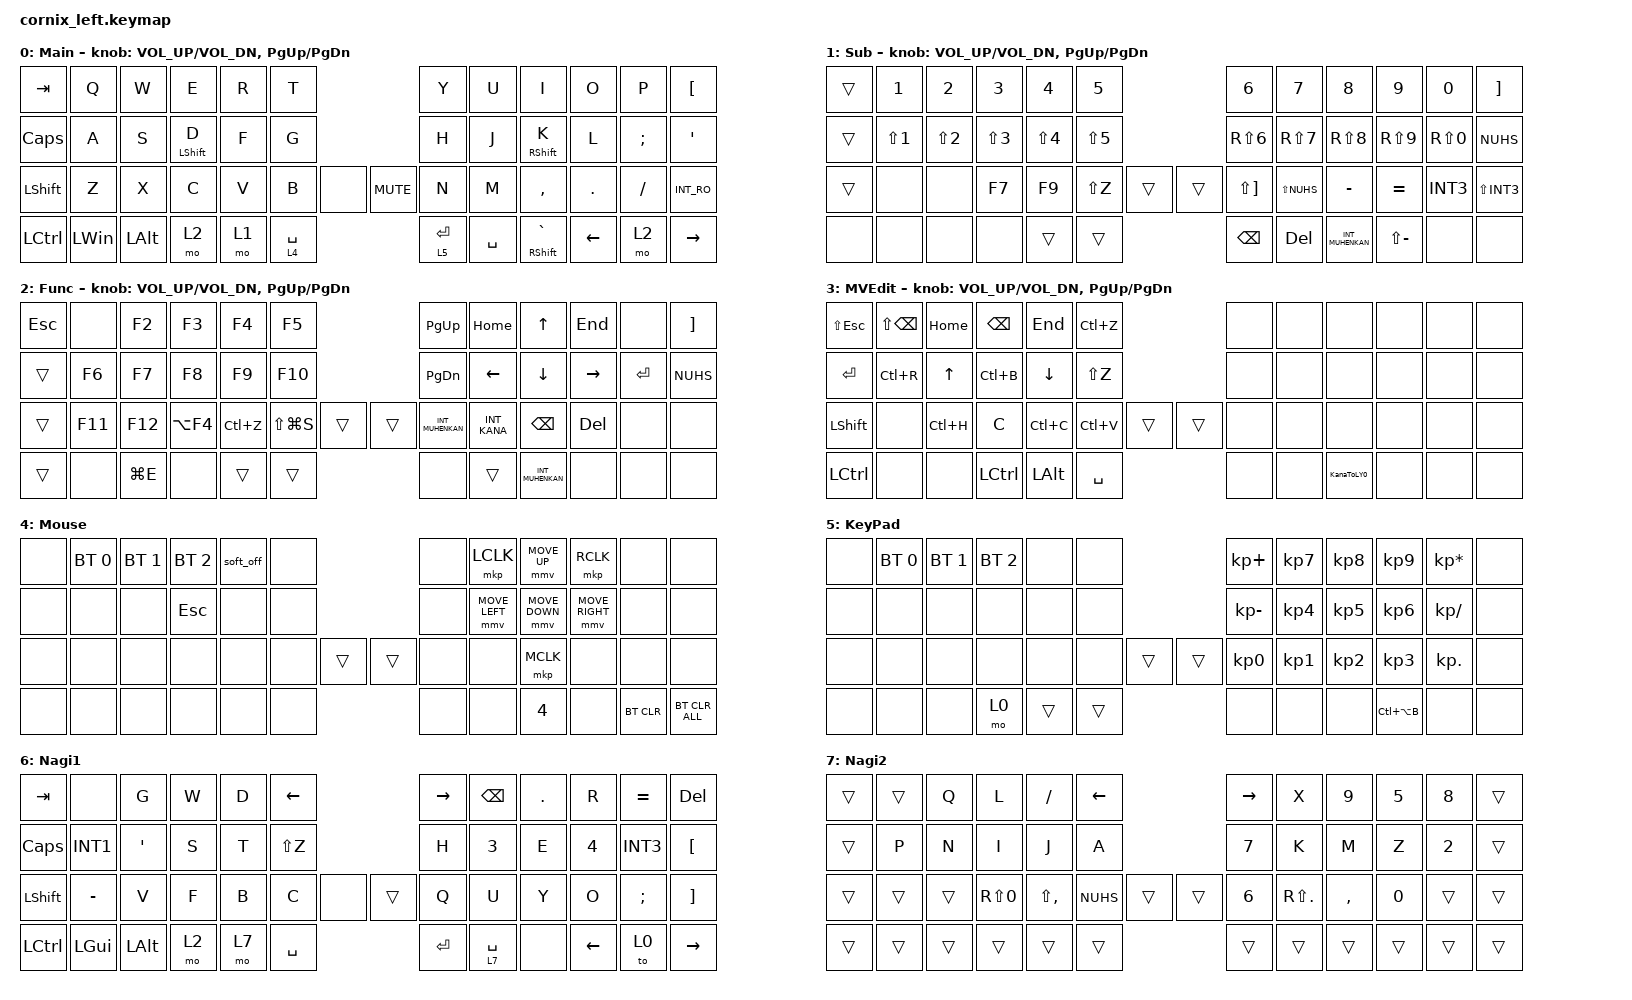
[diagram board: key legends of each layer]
/*
 * Copyright (c) 2025 The ZMK Contributors
 *
 * SPDX-License-Identifier: MIT
 */

#include <dt-bindings/zmk/mouse.h>
#include <behaviors.dtsi>
#include <dt-bindings/zmk/bt.h>
#include <dt-bindings/zmk/keys.h>
#include <dt-bindings/zmk/pointing.h>
#include "cornix-layouts.dtsi"

#define DEFAULT 0
#define FUNCTION 1
#define NUM 2
#define SCROLL 3
#define MOUSE 4

// OS設定を日本語キーボードのまま使用するための変換定義

#define JP_DQUOTE       AT                // "
#define JP_AMPERSAND    CARET             // &
#define JP_QUOTE        AMPERSAND         // '
#define JP_EQUAL        UNDER             // =
#define JP_CARET        EQUAL             // ^
#define JP_YEN          0x89              // ¥
#define JP_PLUS         COLON             // +
#define JP_TILDE        PLUS              // ~
#define JP_PIPE         LS(0x89)          // |
#define JP_AT           LEFT_BRACKET      // @
#define JP_COLON        SINGLE_QUOTE      // :
#define JP_ASTERISK     DOUBLE_QUOTES     // *
#define JP_BACKQUOTE    LEFT_BRACE        // `
#define JP_UNDERSCORE   LS(0x87)          // _
#define JP_LBRACKET     RIGHT_BRACKET     // [
#define JP_RBRACKET     BACKSLASH         // ]
#define JP_LPAREN       ASTERISK          // (
#define JP_RPAREN       LEFT_PARENTHESIS  // )
#define JP_LBRACE       RIGHT_BRACE       // {
#define JP_RBRACE       PIPE              // }
#define JP_KANA         LANGUAGE_1        // かな
#define JP_EISU         LANGUAGE_2        // 英数
#define JP_HANZEN       GRAVE             // 半角/全角

&lt {
    flavor = "balanced";
    quick-tap-ms = <0>;
};

&mt {
    flavor = "balanced";
    quick-tap-ms = <0>;
};

/ {
    combos {
        compatible = "zmk,combos";

        BT_reset {
            bindings = <&bt BT_CLR_ALL>;
            key-positions = <1 5>;
            layers = <3>;
        };

        bootloader {
            bindings = <&bootloader>;
            key-positions = <41 42 43>;
            layers = <3>;
        };

        // eve Added

        Kana_Roma_Toggle {
            bindings = <&kp LA(INT2)>;
            key-positions = <9 10 11>;
        };

        cb_enter {
            bindings = <&kp RET>;
            key-positions = <28 29>;
            layers = <0 1>;
        };

        Main {
            bindings = <&to 0>;
            key-positions = <4 2 3>;
            timeout-ms = <200>;
        };

        MVEdit {
            bindings = <&to 3>;
            key-positions = <16 14 15>;
            timeout-ms = <200>;
        };

        combo_ng_on {
            timeout-ms = <300>;
            key-positions = <6 8 7>;
            bindings = <&ng_on>;
            layers = <0>;
        };

        combo_ng_off {
            timeout-ms = <300>;
            key-positions = <3 5>;
            bindings = <&ng_off>;
            layers = <6>;
        };

        n_ga {
            bindings = <&n_ga>;
            key-positions = <16 19>;
            layers = <6>;
            timeout-ms = <180>;
        };

        n_gi {
            bindings = <&n_gi>;
            key-positions = <19 2>;
            timeout-ms = <180>;
            layers = <6>;
        };

        n_gu {
            bindings = <&n_gu>;
            key-positions = <16 19 3>;
            timeout-ms = <180>;
            layers = <6>;
        };

        n_ge {
            bindings = <&n_ge>;
            key-positions = <14 19>;
            timeout-ms = <180>;
            layers = <6>;
        };

        n_go {
            bindings = <&n_go>;
            key-positions = <28 19>;
            timeout-ms = <180>;
            layers = <6>;
        };

        n_za {
            bindings = <&n_za>;
            key-positions = <16 7>;
            timeout-ms = <180>;
            layers = <6>;
        };

        n_ji {
            bindings = <&n_ji>;
            key-positions = <4 19>;
            timeout-ms = <180>;
            layers = <6>;
        };

        n_zu {
            bindings = <&n_zu>;
            key-positions = <16 9>;
            timeout-ms = <180>;
            layers = <6>;
        };

        n_ze {
            bindings = <&n_ze>;
            key-positions = <13 19>;
            timeout-ms = <180>;
            layers = <6>;
        };

        n_zo {
            bindings = <&n_zo>;
            key-positions = <29 19>;
            timeout-ms = <180>;
            layers = <6>;
        };

        n_da {
            bindings = <&n_da>;
            key-positions = <32 16>;
            layers = <6>;
            timeout-ms = <180>;
        };

        n_di {
            bindings = <&n_di>;
            key-positions = <19 17>;
            timeout-ms = <180>;
            layers = <6>;
        };

        n_du {
            bindings = <&n_du>;
            key-positions = <16 21>;
            timeout-ms = <180>;
            layers = <6>;
        };

        n_de {
            bindings = <&n_de>;
            key-positions = <3 19>;
            timeout-ms = <180>;
            layers = <6>;
        };

        n_do {
            bindings = <&n_do>;
            key-positions = <19 15>;
            timeout-ms = <180>;
            layers = <6>;
        };

        n_xa {
            bindings = <&kp LS(NUMBER_3)>;
            key-positions = <1 19>;
            timeout-ms = <180>;
            layers = <6>;
        };

        n_xi {
            bindings = <&kp LS(E)>;
            key-positions = <1 20>;
            timeout-ms = <180>;
            layers = <6>;
        };

        n_xu {
            bindings = <&kp LS(N4)>;
            key-positions = <1 21>;
            timeout-ms = <180>;
            layers = <6>;
        };

        n_xe {
            bindings = <&kp LS(NUMBER_5)>;
            key-positions = <1 9>;
            timeout-ms = <180>;
            layers = <6>;
        };

        x_xo {
            bindings = <&kp LS(N6)>;
            key-positions = <1 32>;
            timeout-ms = <180>;
            layers = <6>;
        };

        n_xya {
            bindings = <&kp LS(NUMBER_7)>;
            key-positions = <1 18>;
            timeout-ms = <180>;
            layers = <6>;
        };

        n_xyu {
            bindings = <&kp LS(N8)>;
            key-positions = <1 10>;
            timeout-ms = <180>;
            layers = <6>;
        };

        n_xyo {
            bindings = <&kp LS(N9)>;
            key-positions = <1 8>;
            timeout-ms = <180>;
            layers = <6>;
        };

        n_kya {
            bindings = <&n_kya>;
            key-positions = <18 2>;
            timeout-ms = <180>;
            layers = <6>;
        };

        n_kyu {
            bindings = <&n_kyu>;
            key-positions = <2 10>;
            timeout-ms = <180>;
            layers = <6>;
        };

        n_kyo {
            bindings = <&n_kyo>;
            key-positions = <2 8>;
            timeout-ms = <180>;
            layers = <6>;
        };

        n_sya {
            bindings = <&n_sya>;
            key-positions = <4 18>;
            timeout-ms = <180>;
            layers = <6>;
        };

        n_syu {
            bindings = <&n_syu>;
            key-positions = <10 4>;
            timeout-ms = <180>;
            layers = <6>;
        };

        n_syo {
            bindings = <&n_syo>;
            key-positions = <8 4>;
            timeout-ms = <180>;
            layers = <6>;
        };

        n_cya {
            bindings = <&n_cya>;
            key-positions = <18 17>;
            timeout-ms = <180>;
            layers = <6>;
        };

        n_cyu {
            bindings = <&n_cyu>;
            key-positions = <17 10>;
            timeout-ms = <180>;
            layers = <6>;
        };

        n_cyo {
            bindings = <&n_cyo>;
            key-positions = <8 17>;
            timeout-ms = <180>;
            layers = <6>;
        };

        n_nya {
            bindings = <&n_nya>;
            key-positions = <18 15>;
            timeout-ms = <180>;
            layers = <6>;
        };

        n_nyu {
            bindings = <&n_nyu>;
            key-positions = <10 15>;
            timeout-ms = <180>;
            layers = <6>;
        };

        n_nyo {
            bindings = <&n_nyo>;
            key-positions = <8 15>;
            timeout-ms = <180>;
            layers = <6>;
        };

        n_hya {
            bindings = <&n_hya>;
            key-positions = <18 26>;
            timeout-ms = <180>;
            layers = <6>;
        };

        n_hyu {
            bindings = <&n_hyu>;
            key-positions = <10 26>;
            timeout-ms = <180>;
            layers = <6>;
        };

        n_hyo {
            bindings = <&n_hyo>;
            key-positions = <8 26>;
            timeout-ms = <180>;
            layers = <6>;
        };

        n_mya {
            bindings = <&n_mya>;
            key-positions = <18 14>;
            timeout-ms = <180>;
            layers = <6>;
        };

        n_myu {
            bindings = <&n_myu>;
            key-positions = <10 14>;
            timeout-ms = <180>;
            layers = <6>;
        };

        n_myo {
            bindings = <&n_myo>;
            key-positions = <8 14>;
            timeout-ms = <180>;
            layers = <6>;
        };

        n_rya {
            bindings = <&n_rya>;
            key-positions = <18 3>;
            timeout-ms = <180>;
            layers = <6>;
        };

        n_ryu {
            bindings = <&n_ryu>;
            key-positions = <3 22>;
            timeout-ms = <180>;
            layers = <6>;
        };

        n_ryo {
            bindings = <&n_ryo>;
            key-positions = <8 3>;
            timeout-ms = <180>;
            layers = <6>;
        };

        n_gya {
            bindings = <&n_gya>;
            key-positions = <18 2 19>;
            timeout-ms = <180>;
            layers = <6>;
        };

        n_gyu {
            bindings = <&n_gyu>;
            key-positions = <2 19 10>;
            timeout-ms = <180>;
            layers = <6>;
        };

        n_gyo {
            bindings = <&n_gyo>;
            key-positions = <2 19 8>;
            timeout-ms = <180>;
            layers = <6>;
        };

        n_jya {
            bindings = <&n_jya>;
            key-positions = <18 19 4>;
            timeout-ms = <180>;
            layers = <6>;
        };

        n_jyu {
            bindings = <&n_jyu>;
            key-positions = <19 10 4>;
            timeout-ms = <180>;
            layers = <6>;
        };

        n_jyo {
            bindings = <&n_jyo>;
            key-positions = <19 8 4>;
            timeout-ms = <180>;
            layers = <6>;
        };

        n_dya {
            bindings = <&n_dya>;
            key-positions = <18 19 17>;
            timeout-ms = <180>;
            layers = <6>;
        };

        n_dyu {
            bindings = <&n_dyu>;
            key-positions = <19 10 17>;
            timeout-ms = <180>;
            layers = <6>;
        };

        n_dyo {
            bindings = <&n_dyo>;
            key-positions = <19 8 17>;
            timeout-ms = <180>;
            layers = <6>;
        };

        n_bya {
            bindings = <&n_bya>;
            key-positions = <18 19 26>;
            timeout-ms = <180>;
            layers = <6>;
        };

        n_byu {
            bindings = <&n_byu>;
            key-positions = <19 10 26>;
            timeout-ms = <180>;
            layers = <6>;
        };

        n_byo {
            bindings = <&n_byo>;
            key-positions = <19 8 26>;
            timeout-ms = <180>;
            layers = <6>;
        };

        n_pya {
            bindings = <&n_pya>;
            key-positions = <26 18 33>;
            timeout-ms = <180>;
            layers = <6>;
        };

        n_pyu {
            bindings = <&n_pyu>;
            key-positions = <10 26 33>;
            timeout-ms = <180>;
            layers = <6>;
        };

        n_pyo {
            bindings = <&n_pyo>;
            key-positions = <26 33 8>;
            timeout-ms = <180>;
            layers = <6>;
        };

        n_thi {
            bindings = <&n_thi>;
            key-positions = <3 20>;
            timeout-ms = <180>;
            layers = <6>;
        };

        n_twu {
            bindings = <&n_twu>;
            key-positions = <21 15>;
            timeout-ms = <180>;
            layers = <6>;
        };

        n_dei {
            bindings = <&n_dei>;
            key-positions = <3 19 20>;
            timeout-ms = <180>;
            layers = <6>;
        };

        n_dwu {
            bindings = <&n_dwu>;
            key-positions = <21 19 15>;
            timeout-ms = <180>;
            layers = <6>;
        };

        n_thu {
            bindings = <&n_thu>;
            key-positions = <3 10>;
            timeout-ms = <180>;
            layers = <6>;
        };

        n_dhu {
            bindings = <&n_dhu>;
            key-positions = <3 19 10>;
            timeout-ms = <180>;
            layers = <6>;
        };

        n_shie {
            bindings = <&n_shie>;
            key-positions = <4 9>;
            timeout-ms = <180>;
            layers = <6>;
        };

        n_chie {
            bindings = <&n_chie>;
            key-positions = <9 17>;
            timeout-ms = <180>;
            layers = <6>;
        };

        n_jie {
            bindings = <&n_jie>;
            key-positions = <9 19 4>;
            timeout-ms = <180>;
            layers = <6>;
        };

        n_je {
            bindings = <&n_je>;
            key-positions = <17 9 19>;
            timeout-ms = <180>;
            layers = <6>;
        };
    };

    macros {
        KanaToLY0: KanaToLY0 {
            compatible = "zmk,behavior-macro";
            #binding-cells = <0>;
            bindings = <&kp INT2>, <&macro_wait_time 20>, <&to 0>;

            label = "KANATOLY0";
        };

        Naginata: Naginata {
            compatible = "zmk,behavior-macro";
            #binding-cells = <0>;
            bindings = <&kp INT_KANA>, <&macro_wait_time 20>, <&to 6>;

            label = "NAGINATA";
        };

        // 2025/10/19 Naginata Added

        ng_on: ng_on {
            compatible = "zmk,behavior-macro";
            #binding-cells = <0>;
            bindings = <&macro_tap>, <&kp LANGUAGE_1 &kp INTERNATIONAL_4 &to 6>;
        };

        ng_off: ng_off {
            compatible = "zmk,behavior-macro";
            #binding-cells = <0>;
            bindings = <&macro_tap>, <&kp LANGUAGE_2 &kp INTERNATIONAL_5 &to 0>;
        };

        n_ga: n_ga {
            compatible = "zmk,behavior-macro";
            #binding-cells = <0>;
            bindings = <&kp T &kp LEFT_BRACKET>;
            label = "N_GA";
        };

        n_gi: n_gi {
            compatible = "zmk,behavior-macro";
            #binding-cells = <0>;
            bindings = <&kp G &kp LEFT_BRACKET>;
            label = "N_GI";
        };

        n_gu: n_gu {
            compatible = "zmk,behavior-macro";
            #binding-cells = <0>;
            bindings = <&kp H &kp LEFT_BRACKET>;
            label = "N_GU";
        };

        n_ge: n_ge {
            compatible = "zmk,behavior-macro";
            #binding-cells = <0>;
            bindings = <&kp SEMI &kp LEFT_BRACKET>;
            label = "N_GE";
        };

        n_go: n_go {
            compatible = "zmk,behavior-macro";
            #binding-cells = <0>;
            bindings = <&kp B &kp LEFT_BRACKET>;
            label = "N_GO";
        };

        n_za: n_za {
            compatible = "zmk,behavior-macro";
            #binding-cells = <0>;
            bindings = <&kp X &kp LEFT_BRACKET>;
            label = "N_ZA";
        };

        n_ji: n_ji {
            compatible = "zmk,behavior-macro";
            #binding-cells = <0>;
            bindings = <&kp D &kp LEFT_BRACKET>;
            label = "N_JI";
        };

        n_zu: n_zu {
            compatible = "zmk,behavior-macro";
            #binding-cells = <0>;
            bindings = <&kp R &kp LEFT_BRACKET>;
            label = "N_ZU";
        };

        n_ze: n_ze {
            compatible = "zmk,behavior-macro";
            #binding-cells = <0>;
            bindings = <&kp P &kp LEFT_BRACKET>;
            label = "N_ZE";
        };

        n_zo: n_zo {
            compatible = "zmk,behavior-macro";
            #binding-cells = <0>;
            bindings = <&kp C &kp LEFT_BRACKET>;
            label = "N_ZO";
        };

        n_da: n_da {
            compatible = "zmk,behavior-macro";
            #binding-cells = <0>;
            bindings = <&kp Q &kp LEFT_BRACKET>;
            label = "N_DA";
        };

        n_di: n_di {
            compatible = "zmk,behavior-macro";
            #binding-cells = <0>;
            bindings = <&kp A &kp LEFT_BRACKET>;
            label = "N_DI";
        };

        n_du: n_du {
            compatible = "zmk,behavior-macro";
            #binding-cells = <0>;
            bindings = <&kp Z &kp LEFT_BRACKET>;
            label = "N_DU";
        };

        n_de: n_de {
            compatible = "zmk,behavior-macro";
            #binding-cells = <0>;
            bindings = <&kp W &kp LEFT_BRACKET>;
            label = "N_DE";
        };

        n_do: n_do {
            compatible = "zmk,behavior-macro";
            #binding-cells = <0>;
            bindings = <&kp S &kp LEFT_BRACKET>;
            label = "N_DO";
        };

        n_kya: n_kya {
            compatible = "zmk,behavior-macro";
            #binding-cells = <0>;
            bindings = <&kp G &kp LS(N7)>;
            label = "N_KYA";
        };

        n_kyu: n_kyu {
            compatible = "zmk,behavior-macro";
            #binding-cells = <0>;
            bindings = <&kp G &kp LS(N8)>;
            label = "N_KYU";
        };

        n_kyo: n_kyo {
            compatible = "zmk,behavior-macro";
            #binding-cells = <0>;
            bindings = <&kp G &kp LS(N9)>;
            label = "N_KYO";
        };

        n_sya: n_sya {
            compatible = "zmk,behavior-macro";
            #binding-cells = <0>;
            bindings = <&kp D &kp LS(N7)>;
            label = "N_SYA";
        };

        n_syu: n_syu {
            compatible = "zmk,behavior-macro";
            #binding-cells = <0>;
            bindings = <&kp D &kp LS(N8)>;
            label = "N_SYU";
        };

        n_syo: n_syo {
            compatible = "zmk,behavior-macro";
            #binding-cells = <0>;
            bindings = <&kp D &kp LS(N9)>;
            label = "N_SYO";
        };

        n_cya: n_cya {
            compatible = "zmk,behavior-macro";
            #binding-cells = <0>;
            bindings = <&kp A &kp LS(N7)>;
            label = "N_CYA";
        };

        n_cyu: n_cyu {
            compatible = "zmk,behavior-macro";
            #binding-cells = <0>;
            bindings = <&kp A &kp LS(N8)>;
            label = "N_CYU";
        };

        n_cyo: n_cyo {
            compatible = "zmk,behavior-macro";
            #binding-cells = <0>;
            bindings = <&kp A &kp LS(N9)>;
            label = "N_CYO";
        };

        n_nya: n_nya {
            compatible = "zmk,behavior-macro";
            #binding-cells = <0>;
            bindings = <&kp I &kp LS(N7)>;
            label = "N_NYA";
        };

        n_nyu: n_nyu {
            compatible = "zmk,behavior-macro";
            #binding-cells = <0>;
            bindings = <&kp I &kp LS(N8)>;
            label = "N_NYU";
        };

        n_nyo: n_nyo {
            compatible = "zmk,behavior-macro";
            #binding-cells = <0>;
            bindings = <&kp I &kp LS(N9)>;
            label = "N_NYO";
        };

        n_hya: n_hya {
            compatible = "zmk,behavior-macro";
            #binding-cells = <0>;
            bindings = <&kp V &kp LS(N7)>;
            label = "N_HYA";
        };

        n_hyu: n_hyu {
            compatible = "zmk,behavior-macro";
            #binding-cells = <0>;
            bindings = <&kp V &kp LS(N8)>;
            label = "N_HYU";
        };

        n_hyo: n_hyo {
            compatible = "zmk,behavior-macro";
            #binding-cells = <0>;
            bindings = <&kp V &kp LS(N9)>;
            label = "N_HYO";
        };

        n_mya: n_mya {
            compatible = "zmk,behavior-macro";
            #binding-cells = <0>;
            bindings = <&kp N &kp LS(N7)>;
            label = "N_MYA";
        };

        n_myu: n_myu {
            compatible = "zmk,behavior-macro";
            #binding-cells = <0>;
            bindings = <&kp N &kp LS(N8)>;
            label = "N_MYU";
        };

        n_myo: n_myo {
            compatible = "zmk,behavior-macro";
            #binding-cells = <0>;
            bindings = <&kp N &kp LS(N9)>;
            label = "N_MYO";
        };

        n_rya: n_rya {
            compatible = "zmk,behavior-macro";
            #binding-cells = <0>;
            bindings = <&kp L &kp LS(N7)>;
            label = "N_RYA";
        };

        n_ryu: n_ryu {
            compatible = "zmk,behavior-macro";
            #binding-cells = <0>;
            bindings = <&kp L &kp LS(N8)>;
            label = "N_RYU";
        };

        n_ryo: n_ryo {
            compatible = "zmk,behavior-macro";
            #binding-cells = <0>;
            bindings = <&kp L &kp LS(N9)>;
            label = "N_RYO";
        };

        n_gya: n_gya {
            compatible = "zmk,behavior-macro";
            #binding-cells = <0>;
            bindings = <&kp G &kp LEFT_BRACKET &kp LS(N7)>;
            label = "N_GYA";
        };

        n_gyu: n_gyu {
            compatible = "zmk,behavior-macro";
            #binding-cells = <0>;
            bindings = <&kp G &kp LEFT_BRACKET &kp LS(N8)>;
            label = "N_GYU";
        };

        n_gyo: n_gyo {
            compatible = "zmk,behavior-macro";
            #binding-cells = <0>;
            bindings = <&kp G &kp LEFT_BRACKET &kp LS(N9)>;
            label = "N_GYO";
        };

        n_jya: n_jya {
            compatible = "zmk,behavior-macro";
            #binding-cells = <0>;
            bindings = <&kp D &kp LEFT_BRACKET &kp LS(N7)>;
            label = "N_JYA";
        };

        n_jyu: n_jyu {
            compatible = "zmk,behavior-macro";
            #binding-cells = <0>;
            bindings = <&kp D &kp LEFT_BRACKET &kp LS(N8)>;
            label = "N_JYU";
        };

        n_jyo: n_jyo {
            compatible = "zmk,behavior-macro";
            #binding-cells = <0>;
            bindings = <&kp D &kp LEFT_BRACKET &kp LS(N9)>;
            label = "N_JYO";
        };

        n_dya: n_dya {
            compatible = "zmk,behavior-macro";
            #binding-cells = <0>;
            bindings = <&kp A &kp LEFT_BRACKET &kp LS(N7)>;
            label = "N_DYA";
        };

        n_dyu: n_dyu {
            compatible = "zmk,behavior-macro";
            #binding-cells = <0>;
            bindings = <&kp A &kp LEFT_BRACKET &kp LS(N8)>;
            label = "N_DYU";
        };

        n_dyo: n_dyo {
            compatible = "zmk,behavior-macro";
            #binding-cells = <0>;
            bindings = <&kp A &kp LEFT_BRACKET &kp LS(N9)>;
            label = "N_DYO";
        };

        n_bya: n_bya {
            compatible = "zmk,behavior-macro";
            #binding-cells = <0>;
            bindings = <&kp V &kp LEFT_BRACKET &kp LS(N7)>;
            label = "N_BYA";
        };

        n_byu: n_byu {
            compatible = "zmk,behavior-macro";
            #binding-cells = <0>;
            bindings = <&kp V &kp LEFT_BRACKET &kp LS(N8)>;
            label = "N_BYU";
        };

        n_byo: n_byo {
            compatible = "zmk,behavior-macro";
            #binding-cells = <0>;
            bindings = <&kp V &kp LEFT_BRACKET &kp LS(N9)>;
            label = "N_BYO";
        };

        n_pya: n_pya {
            compatible = "zmk,behavior-macro";
            #binding-cells = <0>;
            bindings = <&kp V &kp RIGHT_BRACKET &kp LS(N7)>;
            label = "N_PYA";
        };

        n_pyu: n_pyu {
            compatible = "zmk,behavior-macro";
            #binding-cells = <0>;
            bindings = <&kp V &kp RIGHT_BRACKET &kp LS(N8)>;
            label = "N_PYU";
        };

        n_pyo: n_pyo {
            compatible = "zmk,behavior-macro";
            #binding-cells = <0>;
            bindings = <&kp V &kp RIGHT_BRACKET &kp LS(N9)>;
            label = "N_PYO";
        };

        n_thi: n_thi {
            compatible = "zmk,behavior-macro";
            #binding-cells = <0>;
            bindings = <&kp W &kp LS(E)>;
            label = "N_THI";
        };

        n_twu: n_twu {
            compatible = "zmk,behavior-macro";
            #binding-cells = <0>;
            bindings = <&kp S &kp LS(N4)>;
            label = "N_TWU";
        };

        n_dei: n_dei {
            compatible = "zmk,behavior-macro";
            #binding-cells = <0>;
            bindings = <&kp W &kp LEFT_BRACKET &kp LS(E)>;
            label = "N_DEI";
        };

        n_dwu: n_dwu {
            compatible = "zmk,behavior-macro";
            #binding-cells = <0>;
            bindings = <&kp S &kp LEFT_BRACKET &kp LS(N4)>;
            label = "N_DWU";
        };

        n_thu: n_thu {
            compatible = "zmk,behavior-macro";
            #binding-cells = <0>;
            bindings = <&kp W &kp LS(N8)>;
            label = "N_THU";
        };

        n_dhu: n_dhu {
            compatible = "zmk,behavior-macro";
            #binding-cells = <0>;
            bindings = <&kp W &kp LEFT_BRACKET &kp LS(N8)>;
            label = "N_DHU";
        };

        n_shie: n_shie {
            compatible = "zmk,behavior-macro";
            #binding-cells = <0>;
            bindings = <&kp D &kp LS(N5)>;
            label = "N_SHIE";
        };

        n_chie: n_chie {
            compatible = "zmk,behavior-macro";
            #binding-cells = <0>;
            bindings = <&kp A &kp LS(N5)>;
            label = "N_CHIE";
        };

        n_jie: n_jie {
            compatible = "zmk,behavior-macro";
            #binding-cells = <0>;
            bindings = <&kp D &kp LEFT_BRACKET &kp LS(N5)>;
            label = "N_JIE";
        };

        n_je: n_je {
            compatible = "zmk,behavior-macro";
            #binding-cells = <0>;
            bindings = <&kp A &kp LEFT_BRACKET &kp LS(N5)>;
            label = "N_JE";
        };
    };

    keymap {
        compatible = "zmk,keymap";

        Main {
            display-name = "Main";

            // ------------------------------------------------------------------------------------------------------------
            // |   `   |  1  |  2  |  3   |  4   |  5   |                   |  6   |  7    |  8    |  9   |   0   |       |
            // |  ESC  |  Q  |  W  |  E   |  R   |  T   |                   |  Y   |  U    |  I    |  O   |   P   | BKSPC |
            // |  TAB  |  A  |  S  |  D   |  F   |  G   |                   |  H   |  J    |  K    |  L   |   ;   |   '   |
            // | SHIFT |  Z  |  X  |  C   |  V   |  B   |  MUTE  |  |       |  N   |  M    |  ,    |  .   |   /   | SHIFT |
            //               | GUI | ALT  | CTRL | LOWER|  ENTER |  | SPACE | RAISE| CTRL  | ALT   | GUI  |

            bindings = <
&kp TAB    &kp Q         &kp W         &kp E             &kp R  &kp T                           &kp Y        &kp U      &kp I                  &kp O     &kp P     &kp LEFT_BRACKET
&kp CAPS   &kp A         &kp S         &mt LEFT_SHIFT D  &kp F  &kp G                           &kp H        &kp J      &mt RIGHT_SHIFT K      &kp L     &kp SEMI  &kp SQT
&kp LSHFT  &kp Z         &kp X         &kp C             &kp V  &kp B        &none  &kp C_MUTE  &kp N        &kp M      &kp COMMA              &kp DOT   &kp FSLH  &kp INT_RO
&kp LCTRL  &kp LEFT_WIN  &kp LEFT_ALT  &mo 2             &mo 1  &lt 4 SPACE                     &lt 5 ENTER  &kp SPACE  &mt RIGHT_SHIFT GRAVE  &kp LEFT  &mo 2     &kp RIGHT
            >;

            sensor-bindings = <&inc_dec_kp C_VOL_UP C_VOL_DN &inc_dec_kp PG_UP PG_DN>;
        };

        Sub {
            display-name = "Sub";

            // ------------------------------------------------------------------------------------------------------------
            // |   `   |  1  |  2  |  3   |  4   |  5   |                   |  6   |  7    |  8    |  9   |   0   |       |
            // |  ESC  |  Q  |  W  |  E   |  R   |  T   |                   |  Y   |  U    |  I    |  O   |   P   | BKSPC |
            // |  TAB  |  A  |  S  |  D   |  F   |  G   |                   |  H   |  J    |  K    |  L   |   ;   |   '   |
            // | SHIFT |  Z  |  X  |  C   |  V   |  B   |  MUTE  |  |       |  N   |  M    |  ,    |  .   |   /   | SHIFT |
            //               | GUI | ALT  | CTRL | LOWER|  ENTER |  | SPACE | RAISE| CTRL  | ALT   | GUI  |

            bindings = <
&trans  &kp NUMBER_1      &kp NUMBER_2      &kp NUMBER_3      &kp NUMBER_4      &kp NUMBER_5                      &kp NUMBER_6           &kp NUMBER_7      &kp NUMBER_8      &kp NUMBER_9      &kp NUMBER_0      &kp RIGHT_BRACKET
&trans  &kp LS(NUMBER_1)  &kp LS(NUMBER_2)  &kp LS(NUMBER_3)  &kp LS(NUMBER_4)  &kp LS(NUMBER_5)                  &kp RS(NUMBER_6)       &kp RS(NUMBER_7)  &kp RS(NUMBER_8)  &kp RS(NUMBER_9)  &kp RS(NUMBER_0)  &kp NUHS
&trans  &none             &none             &kp F7            &kp F9            &kp LS(Z)         &trans  &trans  &kp LS(RIGHT_BRACKET)  &kp LS(NUHS)      &kp MINUS         &kp EQUAL         &kp INT3          &kp LS(INT3)
&none   &none             &none             &none             &trans            &trans                            &kp BACKSPACE          &kp DEL           &kp INT_MUHENKAN  &kp LS(MINUS)     &none             &none
            >;

            sensor-bindings = <&inc_dec_kp C_VOL_UP C_VOL_DN &inc_dec_kp PG_UP PG_DN>;
        };

        Func {
            display-name = "Func";

            // TODO: Some binds are waiting for shifted keycode support.
            // -------------------------------
            // |       |  F1 |  F2 |  F3  |  F4  |  F5  |                   |  F6  |  F7   |  F8   |  F9  |  F10  |  F11  |
            // |   `   |  1  |  2  |  3   |  4   |  5   |                   |  6   |  7    |  8    |  9   |   0   |  F12  |
            // |       |  !  |  @  |  #   |  $   |  %   |                   |  ^   |  &    |  *    |  (   |   )   |   |   |
            // |       |  =  |  -  |  +   |  {   |  }   |        |  |       |  [   |  ]    |  ;    |  :   |   \   |       |
            //               |     |      |      |      |        |  |       |      |       |       |      |

            bindings = <
&kp ESC  &none    &kp F2     &kp F3      &kp F4     &kp F5                         &kp PAGE_UP       &kp HOME      &kp UP_ARROW      &kp END    &none      &kp RBKT
&trans   &kp F6   &kp F7     &kp F8      &kp F9     &kp F10                        &kp PAGE_DOWN     &kp LEFT      &kp DOWN          &kp RIGHT  &kp ENTER  &kp NUHS
&trans   &kp F11  &kp F12    &kp LA(F4)  &kp LC(Z)  &kp LS(LG(S))  &trans  &trans  &kp INT_MUHENKAN  &kp INT_KANA  &kp BACKSPACE     &kp DEL    &none      &none
&trans   &none    &kp LG(E)  &none       &trans     &trans                         &none             &trans        &kp INT_MUHENKAN  &none      &none      &none
            >;

            sensor-bindings = <&inc_dec_kp C_VOL_UP C_VOL_DN &inc_dec_kp PG_UP PG_DN>;
        };

        MVEdit {
            display-name = "MVEdit";

            // ------------------------------------------------------------------------------------------------------------
            // | BTCLR | BT1  | BT2  |  BT3  |  BT4  |  BT5 |                |      |      |       |      |       |       |
            // |       | INS  | PSCR | GUI   |       |      |                | PGUP |      |   ^   |      |       |       |
            // |       | ALT  | CTRL | SHIFT |       | CAPS |                | PGDN |   <- |   v   |  ->  |  DEL  | BKSPC |
            // |       | UNDO | CUT  | COPY  | PASTE |      |      |  |      |      |      |       |      |       |       |
            //                |      |       |       |      |      |  |      |      |      |       |      |

            bindings = <
&kp LS(ESC)  &kp LS(BACKSPACE)  &kp HOME      &kp BACKSPACE  &kp END       &kp LC(Z)                  &none  &none  &none       &none  &none  &none
&kp ENTER    &kp LC(R)          &kp UP_ARROW  &kp LC(B)      &kp DOWN      &kp LS(Z)                  &none  &none  &none       &none  &none  &none
&kp LSHFT    &none              &kp LC(H)     &kp C          &kp LC(C)     &kp LC(V)  &trans  &trans  &none  &none  &none       &none  &none  &none
&kp LCTRL    &none              &none         &kp LCTRL      &kp LEFT_ALT  &kp SPACE                  &none  &none  &KanaToLY0  &none  &none  &none
            >;

            sensor-bindings = <&inc_dec_kp C_VOL_UP C_VOL_DN &inc_dec_kp PG_UP PG_DN>;
        };

        Mouse {
            display-name = "Mouse";

            bindings = <
&none  &bt BT_SEL 0  &bt BT_SEL 1  &bt BT_SEL 2  &soft_off  &none                  &none  &mkp LCLK       &mmv MOVE_UP    &mkp RCLK        &none       &none
&none  &none         &none         &kp ESC       &none      &none                  &none  &mmv MOVE_LEFT  &mmv MOVE_DOWN  &mmv MOVE_RIGHT  &none       &none
&none  &none         &none         &none         &none      &none  &trans  &trans  &none  &none           &mkp MCLK       &none            &none       &none
&none  &none         &none         &none         &none      &none                  &none  &none           &kp N4          &none            &bt BT_CLR  &bt BT_CLR_ALL
            >;
        };

        KeyPad {
            display-name = "KeyPad";
            bindings = <
&none  &bt BT_SEL 0  &bt BT_SEL 1  &bt BT_SEL 2  &none   &none                   &kp KP_PLUS   &kp KP_NUMBER_7  &kp KP_NUMBER_8  &kp KP_NUMBER_9  &kp KP_MULTIPLY  &none
&none  &none         &none         &none         &none   &none                   &kp KP_MINUS  &kp KP_NUMBER_4  &kp KP_NUMBER_5  &kp KP_NUMBER_6  &kp KP_DIVIDE    &none
&none  &none         &none         &none         &none   &none   &trans  &trans  &kp KP_N0     &kp KP_NUMBER_1  &kp KP_NUMBER_2  &kp KP_NUMBER_3  &kp KP_DOT       &none
&none  &none         &none         &mo 0         &trans  &trans                  &none         &none            &none            &kp LC(LA(B))    &none            &none
            >;
        };

        Nagi1 {
            bindings = <
&kp TAB         &none         &kp G         &kp W  &kp D  &kp LEFT                  &kp RIGHT  &kp BACKSPACE  &kp DOT  &kp R         &kp EQUAL  &kp DELETE
&kp CAPSLOCK    &kp INT1      &kp SQT       &kp S  &kp T  &kp LS(Z)                 &kp H      &kp N3         &kp E    &kp NUMBER_4  &kp INT3   &kp LEFT_BRACKET
&kp LEFT_SHIFT  &kp MINUS     &kp V         &kp F  &kp B  &kp C      &none  &trans  &kp Q      &kp U          &kp Y    &kp O         &kp SEMI   &kp RIGHT_BRACKET
&kp LCTRL       &kp LEFT_GUI  &kp LEFT_ALT  &mo 2  &mo 7  &kp SPACE                 &kp ENTER  &lt 7 SPACE    &none    &kp LEFT      &to 0      &kp RIGHT
            >;
        };

        Nagi2 {
            bindings = <
&trans  &trans  &kp Q   &kp L       &kp FSLH       &kp LEFT_ARROW                  &kp RIGHT     &kp X        &kp N9     &kp N5  &kp N8        &trans
&trans  &kp P   &kp N   &kp I       &kp J          &kp A                           &kp N7        &kp K        &kp M      &kp Z   &kp NUMBER_2  &trans
&trans  &trans  &trans  &kp RS(N0)  &kp LS(COMMA)  &kp NUHS        &trans  &trans  &kp NUMBER_6  &kp RS(DOT)  &kp COMMA  &kp N0  &trans        &trans
&trans  &trans  &trans  &trans      &trans         &trans                          &trans        &trans       &trans     &trans  &trans        &trans
            >;
        };
    };
};
